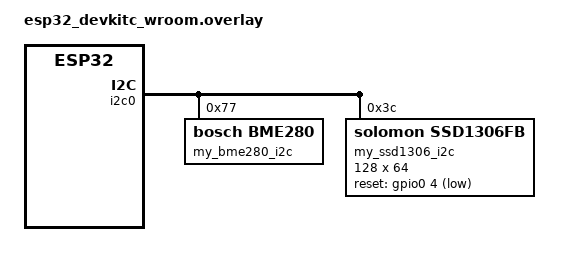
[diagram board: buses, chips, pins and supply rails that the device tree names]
/ {
    aliases {
        my-temp = &my_bme280_i2c;   // Alias for BME280 temperature sensor
        my-disp = &my_ssd1306_i2c;  // Alias for SSD1306 display
    };
};

&pinctrl {
    i2c0_custom_pins: i2c0_custom_pins {    
        group1 {
            pinmux = <I2C0_SDA_GPIO15>, <I2C0_SCL_GPIO16>;  // GPIO15 as SDA, GPIO16 as SCL
            bias-pull-up;
            drive-open-drain;
            output-high;
        };
    };
};

&i2c0 {
    status = "okay";    // Enable I2C0
    pinctrl-0 = <&i2c0_custom_pins>; // Apply custom pin configuration
    pinctrl-names = "default";

    my_bme280_i2c: bme280@77 {  // BME280 sensor at I2C address 0x77 -> check the documentation for the address. By default 0x77. The node name needs to be the sensor name followed by the address
        compatible = "bosch,bme280"; // Check the compatible in the drivers->sensors->bme280
        reg = <0x77>;
        status = "okay";    // Make sure to have the status as okay
    };

    my_ssd1306_i2c: ssd1306@3c {    // SSD1306 display driver at I2c address 0x3c (lowercase)
        compatible = "solomon,ssd1306fb";   // Check drivers->display->ssd1306. Use this compatible as it works. ssd1306fb-i2c or ssd1306 doesnt let the elf file identify the node
        reg = <0x3c>;
        width = <128>;
        height = <64>;
        multiplex-ratio = <63>; // The multiplex ratio for 128x64 display -> tells how many rows are in the display
        segment-offset = <0>;   // The start of the fist column
        page-offset = <0>;     // The start of the first page
        display-offset = <0>;   // The start of top line
        prechargep = <15>;  // The default value-> for the lights of the display to light up correctly
        reset-gpios = <&gpio0 4 GPIO_ACTIVE_LOW>;   // To rest the display-> custom reset button in gpio4
        status = "okay";    // Make sure to have the status as okay
    };
};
